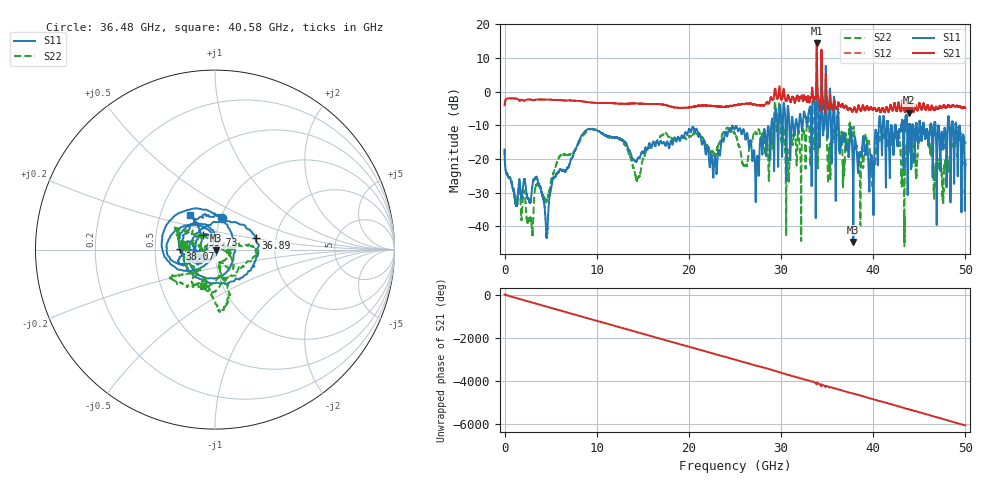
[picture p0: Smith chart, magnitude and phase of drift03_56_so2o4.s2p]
!Created with skrf (http://scikit-rf.org).
# Hz S RI R 50.0
!freq ReS11 ImS11 ReS21 ImS21 ReS12 ImS12 ReS22 ImS22
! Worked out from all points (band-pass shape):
!   10001 points, 300 kHz to 50 GHz, reference 50 ohm
!   highest |S21| = 14.32 dB at 33.88 GHz (marker M1); lowest = -6.2 dB at 43.9 GHz (marker M2)
!   |S21| within 3 dB of the highest: 33.86892 GHz to 33.88865 GHz (19.74 MHz wide, 0.0583 % of centre); 34.37751 GHz to 34.38896 GHz (11.44 MHz wide, 0.0333 % of centre)
!   lowest |S11| = -44.7 dB at 37.84 GHz (marker M3), VSWR 1.01, Z = 50.5 - j0.303 ohm
!   |S11| at or under -10 dB: start of sweep to 28.94 GHz; 36.27 GHz to 40.6 GHz (4.338 GHz wide, 11.3 % of centre); 47.09 GHz to 48.08 GHz (992.3 MHz wide, 2.09 % of centre) (the widest 3 of 56)
!   |S22| runs from -45.9 to 11.1 dB; largest |S21 - S12| = 0.78
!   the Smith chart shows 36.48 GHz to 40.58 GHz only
!   S11 on the Smith chart (normalised r, x): 36.48 GHz: 1.01, +0.37; 36.89 GHz: 1.56, +0.22; 38.07 GHz: 0.67, +0.00; 39.73 GHz: 0.86, +0.14; 40.58 GHz: 0.71, +0.29
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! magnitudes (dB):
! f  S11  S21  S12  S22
! 300 kHz  -17.2  -4.0  -4.1  -17.0
! 2.825 GHz  -32.5  -2.4  -2.4  -38.3
! 4.565 GHz  -42.0  -2.3  -2.4  -32.3
! 8.335 GHz  -13.1  -2.8  -2.8  -13.9
! 14.44 GHz  -19.9  -3.5  -3.5  -26.1
! 16.67 GHz  -15.4  -3.7  -3.7  -14.3
! 22.82 GHz  -19.2  -4.3  -4.3  -19.1
! 25 GHz  -11.0  -4.0  -4.0  -12.5
! 27.39 GHz  -19.4  -4.1  -4.1  -12.5
! 29.6 GHz  -10.4  -2.0  -2.1  -11.7
! 30.7 GHz  -5.7  -1.4  -1.5  -17.2
! 33.34 GHz  -13.4  -0.4  -0.5  -7.1
! 33.88 GHz  15.2  14.3  14.0  10.8
! 36.48 GHz  -14.8  -4.4  -4.3  -14.8
! 36.89 GHz  -12.5  -4.5  -4.5  -20.5
! 37.84 GHz  -44.7  -5.5  -5.4  -10.9
! 38.07 GHz  -14.2  -5.4  -5.3  -16.9
! 39.73 GHz  -19.5  -4.7  -4.6  -21.6
! 40.58 GHz  -12.4  -4.9  -4.9  -13.5
! 41.67 GHz  -12.2  -5.9  -5.9  -15.1
! 43.9 GHz  -9.6  -6.2  -6.2  -16.8
! 50 GHz  -20.3  -4.9  -4.9  -15.1
